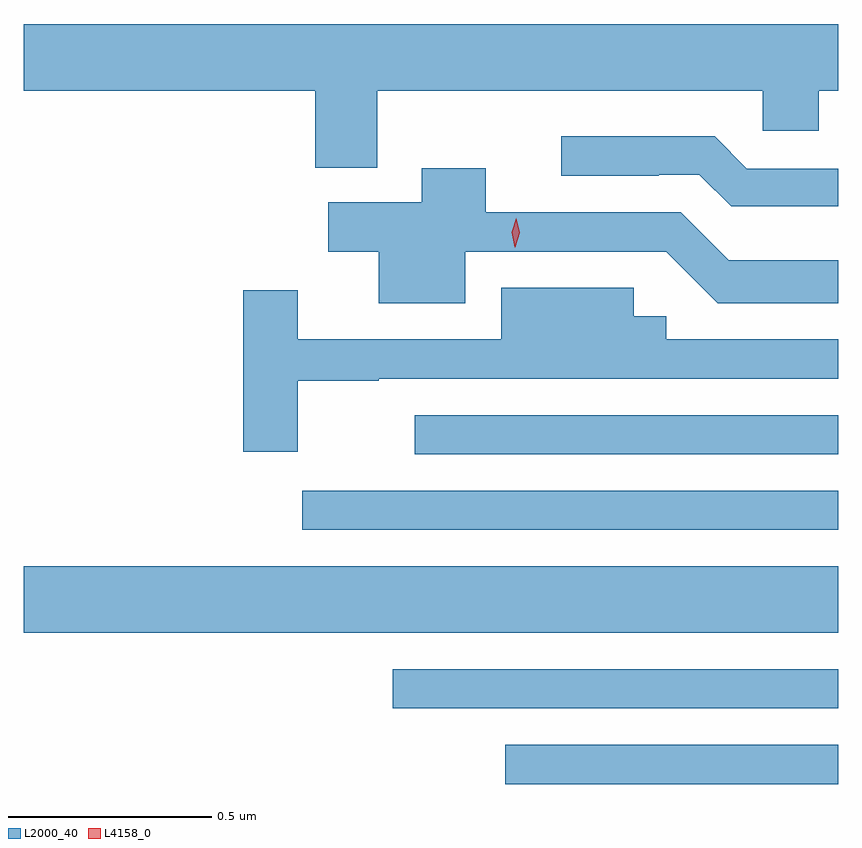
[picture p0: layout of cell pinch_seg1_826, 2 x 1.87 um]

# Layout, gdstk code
import gdstk
lib = gdstk.Library(unit=1e-6, precision=1e-09)
def R(c, l, rs):  # rectangles x0, y0, x1, y1
    for r in rs: c.add(gdstk.rectangle(r[:2], r[2:], *l))
def P(c, l, *ps):  # polygons
    for p in ps: c.add(gdstk.Polygon(p, *l))
L2000_40 = (2000, 40)
L4158_0 = (4158, 0)

pinch_seg1_826 = lib.new_cell('pinch_seg1_826')
R(pinch_seg1_826, L2000_40, [(387.549,567.345,388.367,567.441), (387.273,567.531,388.367,567.627), (386.367,567.716,388.367,567.88), (387.051,567.969,388.367,568.065), (387.327,568.155,388.367,568.251)])
P(pinch_seg1_826, L2000_40, [(387.235,569.048),(388.182,569.048),(388.182,568.95),(388.32,568.95),(388.32,569.048),(388.367,569.048),(388.367,569.212),(386.367,569.212),(386.367,569.048),(387.083,569.048),(387.083,568.859),(387.235,568.859)],
  [(388.367,568.857),(388.143,568.857),(388.064,568.936),(387.687,568.936),(387.687,568.839),(387.926,568.839),(387.926,568.842),(388.026,568.842),(388.104,568.764),(388.367,568.764)],
  [(387.451,568.653),(387.945,568.653),(388.072,568.526),(388.367,568.526),(388.367,568.632),(388.098,568.632),(387.981,568.749),(387.502,568.749),(387.502,568.858),(387.344,568.858),(387.344,568.774),(387.114,568.774),(387.114,568.652),(387.239,568.652),(387.239,568.526),(387.451,568.526)],
  [(387.04,568.336),(387.239,568.336),(387.239,568.341),(387.643,568.341),(387.643,568.34),(387.842,568.34),(387.842,568.341),(388.367,568.341),(388.367,568.437),(387.945,568.437),(387.945,568.494),(387.865,568.494),(387.865,568.564),(387.539,568.564),(387.539,568.437),(387.04,568.437),(387.04,568.558),(386.906,568.558),(386.906,568.161),(387.04,568.161)])
P(pinch_seg1_826, L4158_0, [(387.573,568.663),(387.573,568.663),(387.565,568.7),(387.576,568.735),(387.576,568.735),(387.576,568.735),(387.585,568.699),(387.574,568.663)])

lib.write_gds('pinch_seg1_826.gds')
